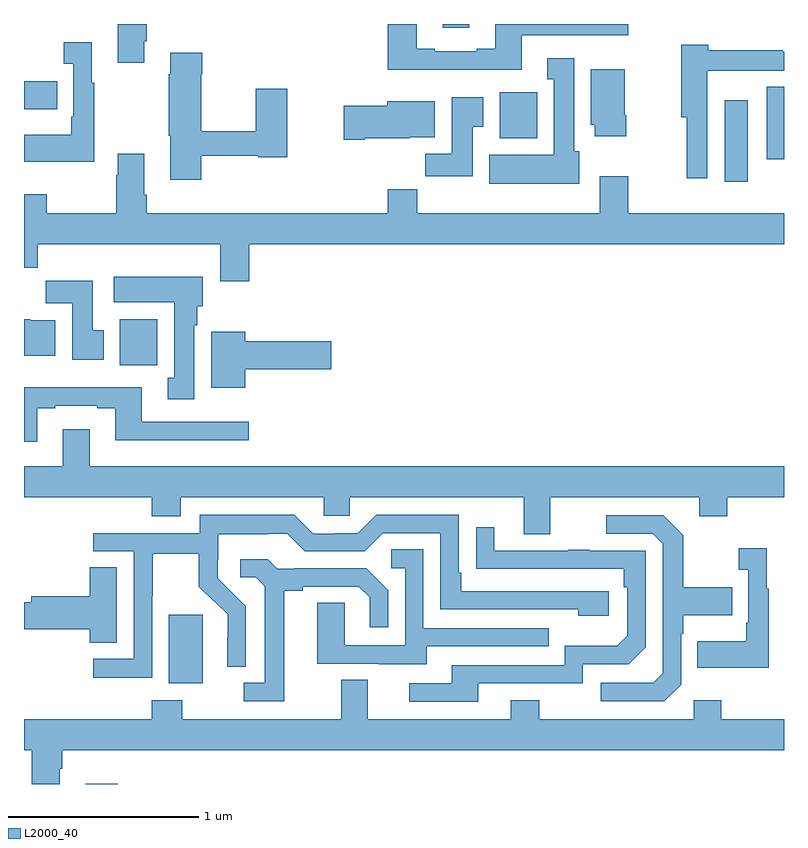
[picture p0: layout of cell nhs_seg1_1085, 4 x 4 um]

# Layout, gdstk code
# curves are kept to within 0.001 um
import gdstk
lib = gdstk.Library(unit=1e-6, precision=1e-09)
def R(c, l, rs):  # rectangles x0, y0, x1, y1
    for r in rs: c.add(gdstk.rectangle(r[:2], r[2:], *l))
def P(c, l, *ps):  # polygons
    for p in ps: c.add(gdstk.Polygon(p, *l))
L2000_40 = (2000, 40)

nhs_seg1_1085 = lib.new_cell('nhs_seg1_1085')
R(nhs_seg1_1085, L2000_40, [(169.325,574.199,169.493,574.201), (169.763,574.73,169.942,575.091), (169.505,576.404,169.702,576.646), (172.688,577.368,172.81,577.798), (172.91,577.488,173,577.868), (171.503,577.598,171.7,577.84), (169,577.751,169.175,577.899), (171.203,578.178,171.343,578.199)])
P(nhs_seg1_1085, L2000_40, [(169.633,578.107),(169.646,578.107),(169.646,578.199),(169.493,578.199),(169.493,577.995),(169.633,577.995)],
  [(171.619,578.139),(172.18,578.139),(172.18,578.199),(171.479,578.199),(171.479,578.068),(171.383,578.068),(171.383,578.055),(171.163,578.055),(171.163,578.068),(171.067,578.068),(171.067,578.199),(170.915,578.199),(170.915,577.958),(171.619,577.958)],
  [(169.369,577.891),(169.357,577.891),(169.357,578.104),(169.209,578.104),(169.209,577.991),(169.26,577.991),(169.26,577.711),(169.248,577.711),(169.248,577.615),(169,577.615),(169,577.475),(169.369,577.475)],
  [(172.596,577.952),(172.806,577.952),(172.806,577.953),(173,577.953),(173,578.052),(172.994,578.052),(172.994,578.062),(172.601,578.062),(172.601,578.089),(172.459,578.089),(172.459,577.709),(172.488,577.709),(172.488,577.386),(172.596,577.386)],
  [(169.932,577.506),(170.232,577.506),(170.232,577.498),(170.386,577.498),(170.386,577.858),(170.221,577.858),(170.221,577.634),(169.932,577.634),(169.932,577.934),(169.937,577.934),(169.937,578.047),(169.769,578.047),(169.769,577.934),(169.762,577.934),(169.762,577.611),(169.769,577.611),(169.769,577.38),(169.932,577.38)],
  [(171.922,577.53),(171.895,577.53),(171.895,578.02),(171.755,578.02),(171.755,577.907),(171.788,577.907),(171.788,577.51),(171.449,577.51),(171.449,577.358),(171.922,577.358)],
  [(172.17,577.72),(172.162,577.72),(172.162,577.96),(171.983,577.96),(171.983,577.668),(172.004,577.668),(172.004,577.608),(172.17,577.608)],
  [(171.361,577.657),(171.418,577.657),(171.418,577.813),(171.251,577.813),(171.251,577.516),(171.112,577.516),(171.112,577.398),(171.361,577.398)],
  [(170.794,577.598),(171.03,577.598),(171.03,577.604),(171.163,577.604),(171.163,577.792),(170.912,577.792),(170.912,577.769),(170.682,577.769),(170.682,577.591),(170.794,577.591)],
  [(170.186,577.04),(173,577.04),(173,577.204),(172.179,577.204),(172.179,577.399),(172.031,577.399),(172.031,577.204),(171.071,577.204),(171.071,577.328),(170.915,577.328),(170.915,577.204),(169.646,577.204),(169.646,577.3),(169.633,577.3),(169.633,577.516),(169.493,577.516),(169.493,577.403),(169.486,577.403),(169.486,577.204),(169.119,577.204),(169.119,577.303),(169,577.303),(169,576.916),(169.073,576.916),(169.073,577.04),(170.033,577.04),(170.033,576.846),(170.186,576.846)],
  [(169.897,576.614),(169.912,576.614),(169.912,576.714),(169.942,576.714),(169.942,576.868),(169.473,576.868),(169.473,576.734),(169.79,576.734),(169.79,576.338),(169.757,576.338),(169.757,576.225),(169.897,576.225)],
  [(169.42,576.588),(169.363,576.588),(169.363,576.847),(169.114,576.847),(169.114,576.728),(169.253,576.728),(169.253,576.432),(169.42,576.432)],
  [(169.165,576.64),(169.032,576.64),(169.032,576.646),(169,576.646),(169,576.452),(169.165,576.452)],
  [(170.164,576.383),(170.617,576.383),(170.617,576.53),(170.164,576.53),(170.164,576.58),(169.985,576.58),(169.985,576.284),(170.164,576.284)],
  [(169.069,576.177),(169.165,576.177),(169.165,576.189),(169.385,576.189),(169.385,576.177),(169.481,576.177),(169.481,576.008),(170.182,576.008),(170.182,576.105),(169.621,576.105),(169.621,576.286),(169,576.286),(169,576),(169.069,576)],
  [(171.769,575.708),(172.553,575.708),(172.553,575.609),(172.701,575.609),(172.701,575.708),(173,575.708),(173,575.872),(169.345,575.872),(169.345,576.067),(169.205,576.067),(169.205,575.872),(169,575.872),(169,575.708),(169.673,575.708),(169.673,575.609),(169.825,575.609),(169.825,575.708),(170.577,575.708),(170.577,575.61),(170.715,575.61),(170.715,575.708),(171.629,575.708),(171.629,575.514),(171.769,575.514)],
  [(169.674,575.188),(169.677,575.188),(169.677,575.412),(169.921,575.412),(169.921,575.237),(169.998,575.16),(170.001,575.163),(170.072,575.093),(170.072,574.97),(170.07,574.97),(170.07,574.816),(170.166,574.816),(170.166,575.134),(170.02,575.282),(170.02,575.379),(170.022,575.379),(170.022,575.513),(170.285,575.513),(170.285,575.517),(170.385,575.517),(170.478,575.424),(170.793,575.424),(170.889,575.52),(171.192,575.52),(171.192,575.118),(171.917,575.118),(171.917,575.084),(172.078,575.084),(172.078,575.214),(171.301,575.214),(171.301,575.311),(171.288,575.311),(171.288,575.616),(170.853,575.616),(170.757,575.52),(170.639,575.52),(170.639,575.517),(170.523,575.517),(170.423,575.617),(169.926,575.617),(169.926,575.52),(169.365,575.52),(169.365,575.424),(169.578,575.424),(169.578,574.857),(169.365,574.857),(169.365,574.759),(169.674,574.759)],
  [(172.458,574.722),(172.458,574.991),(172.471,574.991),(172.471,575.087),(172.727,575.087),(172.727,575.235),(172.471,575.235),(172.471,575.507),(172.365,575.613),(172.065,575.613),(172.065,575.517),(172.308,575.517),(172.362,575.463),(172.362,574.782),(172.311,574.731),(172.035,574.731),(172.035,574.635),(172.371,574.635)],
  [(171.391,574.728),(171.942,574.728),(171.942,574.83),(172.182,574.83),(172.272,574.92),(172.272,575.427),(171.977,575.427),(171.977,575.432),(171.865,575.432),(171.865,575.427),(171.475,575.427),(171.475,575.551),(171.379,575.551),(171.379,575.332),(172.156,575.331),(172.156,575.234),(172.176,575.234),(172.176,574.98),(172.123,574.927),(171.846,574.927),(171.846,574.824),(171.251,574.824),(171.251,574.728),(171.027,574.728),(171.027,574.632),(171.391,574.632)],
  [(172.921,575.227),(172.909,575.227),(172.909,575.44),(172.761,575.44),(172.761,575.327),(172.812,575.327),(172.812,575.047),(172.8,575.047),(172.8,574.951),(172.543,574.951),(172.543,574.811),(172.921,574.811)],
  [(171.121,574.923),(171.761,574.923),(171.761,575.019),(171.102,575.019),(171.102,575.435),(170.934,575.435),(170.934,575.334),(171.006,575.334),(171.006,574.929),(170.688,574.929),(170.688,575.153),(170.543,575.153),(170.543,574.833),(170.867,574.833),(170.867,574.829),(171.121,574.829)],
  [(170.371,575.216),(170.467,575.216),(170.467,575.238),(170.762,575.238),(170.819,575.181),(170.819,575.025),(170.916,575.025),(170.916,575.218),(170.8,575.334),(170.428,575.334),(170.428,575.331),(170.334,575.331),(170.282,575.383),(170.139,575.383),(170.139,575.286),(170.22,575.286),(170.267,575.239),(170.267,574.731),(170.157,574.731),(170.157,574.635),(170.371,574.635)],
  [(169.489,575.339),(169.346,575.339),(169.346,575.186),(169.037,575.186),(169.037,575.156),(169,575.156),(169,575.014),(169.346,575.014),(169.346,574.942),(169.489,574.942)],
  [(169.189,574.28),(169.202,574.28),(169.202,574.376),(173,574.376),(173,574.54),(172.671,574.54),(172.671,574.639),(172.524,574.639),(172.524,574.54),(171.711,574.54),(171.711,574.639),(171.563,574.639),(171.563,574.54),(170.809,574.54),(170.809,574.748),(170.669,574.748),(170.669,574.54),(169.833,574.54),(169.833,574.639),(169.673,574.639),(169.673,574.54),(169,574.54),(169,574.376),(169.042,574.376),(169.042,574.199),(169.189,574.199)])

lib.write_gds('nhs_seg1_1085.gds')
